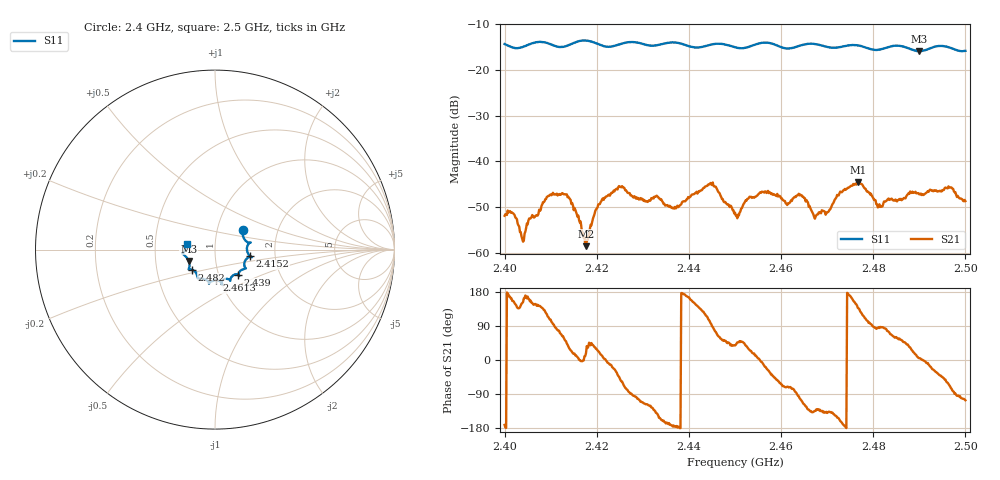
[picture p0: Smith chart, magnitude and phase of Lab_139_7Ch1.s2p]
# Hz S RI R 50
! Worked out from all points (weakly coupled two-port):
!   601 points, 2.4 GHz to 2.5 GHz, reference 50 ohm
!   highest |S21| = -44.60 dB at 2.4767 GHz (marker M1); lowest = -58.6 dB at 2.4177 GHz (marker M2)
!   lowest |S11| = -15.9 dB at 2.49 GHz (marker M3), VSWR 1.38, Z = 36.9 - j4.8 ohm
!   |S11| at or under -10 dB: start of sweep to end of sweep
!   S12 and S22 are empty: the file has one direction only
!   S11 on the Smith chart (normalised r, x): 2.4 GHz: 1.33, +0.31; 2.4152 GHz: 1.48, -0.11; 2.439 GHz: 1.24, -0.36; 2.4613 GHz: 0.96, -0.34; 2.482 GHz: 0.76, -0.17; 2.5 GHz: 0.73, +0.05
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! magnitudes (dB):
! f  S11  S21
! 2.4 GHz  -14.3  -52.0
! 2.402 GHz  -15.2  -51.6
! 2.404 GHz  -15.0  -57.6
! 2.41 GHz  -14.4  -47.3
! 2.4152 GHz  -14.0  -50.2
! 2.4167 GHz  -13.6  -54.5
! 2.4177 GHz  -13.6  -58.6
! 2.4203 GHz  -14.4  -49.5
! 2.4245 GHz  -14.5  -46.2
! 2.4333 GHz  -14.5  -47.9
! 2.439 GHz  -14.5  -48.8
! 2.4448 GHz  -14.5  -44.8
! 2.45 GHz  -15.0  -51.3
! 2.456 GHz  -14.1  -46.7
! 2.4613 GHz  -15.3  -49.6
! 2.4643 GHz  -14.6  -47.5
! 2.4667 GHz  -14.3  -50.9
! 2.4767 GHz  -14.6  -44.6
! 2.482 GHz  -15.4  -49.9
! 2.4833 GHz  -15.0  -48.2
! 2.49 GHz  -15.9  -47.3
! 2.5 GHz  -15.8  -48.7
